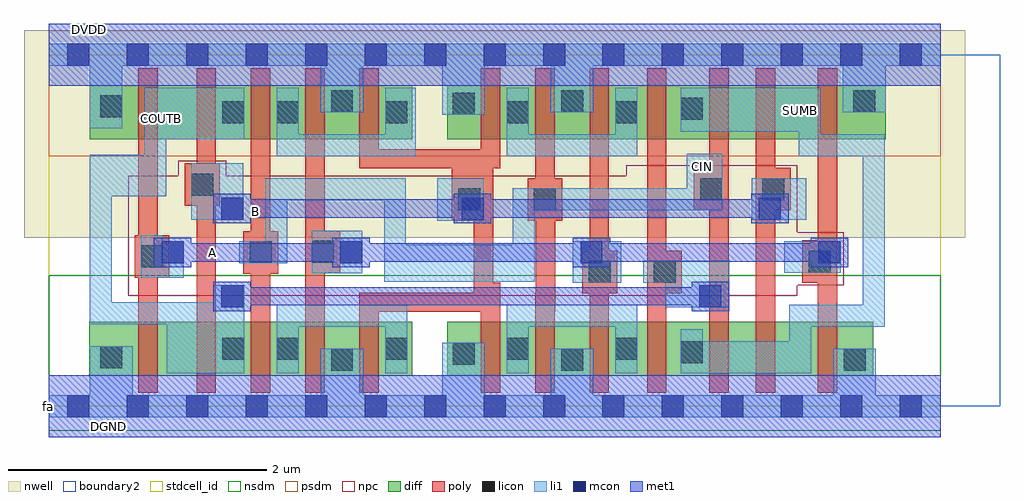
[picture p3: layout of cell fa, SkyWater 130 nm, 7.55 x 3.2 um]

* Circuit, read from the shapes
.subckt fa A B CIN COUTB DGND DVDD SUMB
XM1 n1 A DGND VSUBS sky130_fd_pr__nfet_01v8 w=0.42 l=0.15
XM2 COUTB B n1 VSUBS sky130_fd_pr__nfet_01v8 w=0.42 l=0.15
XM3 n2 CIN COUTB VSUBS sky130_fd_pr__nfet_01v8 w=0.42 l=0.15
XM4 DGND A n2 VSUBS sky130_fd_pr__nfet_01v8 w=0.42 l=0.15
XM5 n2 B DGND VSUBS sky130_fd_pr__nfet_01v8 w=0.42 l=0.15
XM6 n3 B DGND VSUBS sky130_fd_pr__nfet_01v8 w=0.42 l=0.15
XM7 DGND CIN n3 VSUBS sky130_fd_pr__nfet_01v8 w=0.42 l=0.15
XM8 n3 A DGND VSUBS sky130_fd_pr__nfet_01v8 w=0.42 l=0.15
XM9 SUMB COUTB n3 VSUBS sky130_fd_pr__nfet_01v8 w=0.42 l=0.15
XM10 n4 CIN SUMB VSUBS sky130_fd_pr__nfet_01v8 w=0.42 l=0.15
XM11 n5 B n4 VSUBS sky130_fd_pr__nfet_01v8 w=0.42 l=0.15
XM12 DGND A n5 VSUBS sky130_fd_pr__nfet_01v8 w=0.42 l=0.15
XM13 n6 A DVDD n7 sky130_fd_pr__pfet_01v8 w=0.42 l=0.15
XM14 COUTB B n6 n7 sky130_fd_pr__pfet_01v8 w=0.42 l=0.15
XM15 n8 CIN COUTB n7 sky130_fd_pr__pfet_01v8 w=0.42 l=0.15
XM16 DVDD A n8 n7 sky130_fd_pr__pfet_01v8 w=0.42 l=0.15
XM17 n8 B DVDD n7 sky130_fd_pr__pfet_01v8 w=0.42 l=0.15
XM18 n9 B DVDD n7 sky130_fd_pr__pfet_01v8 w=0.42 l=0.15
XM19 DVDD CIN n9 n7 sky130_fd_pr__pfet_01v8 w=0.42 l=0.15
XM20 n9 A DVDD n7 sky130_fd_pr__pfet_01v8 w=0.42 l=0.15
XM21 SUMB COUTB n9 n7 sky130_fd_pr__pfet_01v8 w=0.42 l=0.15
XM22 n10 CIN SUMB n7 sky130_fd_pr__pfet_01v8 w=0.42 l=0.15
XM23 n11 B n10 n7 sky130_fd_pr__pfet_01v8 w=0.42 l=0.15
XM24 DVDD A n11 n7 sky130_fd_pr__pfet_01v8 w=0.42 l=0.15
.ends

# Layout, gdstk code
import gdstk
lib = gdstk.Library(unit=1e-6, precision=1e-09)
def R(c, l, rs):  # rectangles x0, y0, x1, y1
    for r in rs: c.add(gdstk.rectangle(r[:2], r[2:], *l))
def A(c, l, x, y, w, h, nx, ny, dx, dy):  # array of equal rectangles
    R(c, l, [(x+i*dx, y+j*dy, x+i*dx+w, y+j*dy+h) for i in range(nx) for j in range(ny)])
def P(c, l, *ps):  # polygons
    for p in ps: c.add(gdstk.Polygon(p, *l))
nwell = (64, 20)
diff = (65, 20)
poly = (66, 20)
licon = (66, 44)
li1 = (67, 20)
mcon = (67, 44)
met1 = (68, 20)
stdcell_id = (81, 4)
nsdm = (93, 44)
psdm = (94, 20)
npc = (95, 20)
boundary2 = (236, 0)

c_fa = lib.new_cell('fa')
R(c_fa, nwell, [(-0.19,1.305,7.09,2.91)])
R(c_fa, diff, [(0.315,0.235,2.815,0.655), (3.085,0.235,6.38,0.655), (0.32,2.065,2.815,2.485), (3.085,2.065,6.475,2.485)])
P(c_fa, poly, [(0.695,0.105),(0.695,0.995),(0.665,0.995),(0.665,1.325),(0.695,1.325),(0.695,2.615),(0.845,2.615),(0.845,1.325),(0.935,1.325),(0.935,0.995),(0.845,0.995),(0.845,0.105)],
  [(1.145,0.105),(1.145,1.55),(1.055,1.55),(1.055,1.88),(1.145,1.88),(1.145,2.615),(1.295,2.615),(1.295,1.88),(1.325,1.88),(1.325,1.55),(1.295,1.55),(1.295,0.105)],
  [(1.565,0.105),(1.565,1.025),(1.505,1.025),(1.505,1.355),(1.565,1.355),(1.565,2.615),(1.715,2.615),(1.715,1.355),(1.775,1.355),(1.775,1.025),(1.715,1.025),(1.715,0.105)],
  [(1.985,0.105),(1.985,2.615),(2.135,2.615),(2.135,1.36),(2.255,1.36),(2.255,1.03),(2.135,1.03),(2.135,0.105)],
  [(2.405,0.105),(2.405,0.88),(3.29,0.88),(3.29,1.435),(3.12,1.435),(3.12,1.84),(2.405,1.84),(2.405,2.615),(2.555,2.615),(2.555,1.99),(3.345,1.99),(3.345,2.615),(3.495,2.615),(3.495,1.84),(3.44,1.84),(3.44,0.955),(3.495,0.955),(3.495,0.105),(3.345,0.105),(3.345,0.73),(2.555,0.73),(2.555,0.105)],
  [(3.765,0.105),(3.765,0.88),(3.77,0.88),(3.77,1.435),(3.705,1.435),(3.705,1.765),(3.765,1.765),(3.765,2.615),(3.915,2.615),(3.915,1.765),(3.975,1.765),(3.975,1.435),(3.92,1.435),(3.92,0.73),(3.915,0.73),(3.915,0.105)],
  [(4.185,0.105),(4.185,0.875),(4.13,0.875),(4.13,1.205),(4.185,1.205),(4.185,2.615),(4.335,2.615),(4.335,1.205),(4.4,1.205),(4.4,0.875),(4.335,0.875),(4.335,0.105)],
  [(4.63,0.105),(4.63,2.615),(4.78,2.615),(4.78,1.205),(4.9,1.205),(4.9,0.875),(4.78,0.875),(4.78,0.105)],
  [(5.11,0.105),(5.11,1.515),(4.99,1.515),(4.99,1.845),(5.11,1.845),(5.11,2.615),(5.26,2.615),(5.26,0.105)],
  [(5.47,0.105),(5.47,2.615),(5.62,2.615),(5.62,1.845),(5.74,1.845),(5.74,1.515),(5.62,1.515),(5.62,0.105)],
  [(5.95,0.105),(5.95,0.955),(5.83,0.955),(5.83,1.285),(5.95,1.285),(5.95,2.615),(6.1,2.615),(6.1,0.105)])
R(c_fa, licon, [(2.185,0.275,2.355,0.445), (3.965,0.275,4.135,0.445), (6.15,0.275,6.32,0.445), (0.4,0.295,0.57,0.465), (3.125,0.32,3.295,0.49), (4.89,0.335,5.06,0.505), (1.345,0.36,1.515,0.53), (1.765,0.36,1.935,0.53), (2.605,0.36,2.775,0.53), (3.545,0.36,3.715,0.53), (4.385,0.36,4.555,0.53), (4.18,0.955,4.35,1.125), (4.68,0.955,4.85,1.125), (5.88,1.035,6.05,1.205), (0.715,1.075,0.885,1.245), (1.555,1.105,1.725,1.275), (2.035,1.11,2.205,1.28), (3.17,1.515,3.34,1.685), (3.755,1.515,3.925,1.685), (5.04,1.595,5.21,1.765), (5.52,1.595,5.69,1.765), (1.105,1.63,1.275,1.8), (1.345,2.19,1.515,2.36), (1.765,2.19,1.935,2.36), (2.605,2.19,2.775,2.36), (3.545,2.19,3.715,2.36), (4.385,2.19,4.555,2.36), (4.89,2.215,5.06,2.385), (0.4,2.235,0.57,2.405), (3.125,2.255,3.295,2.425), (2.185,2.275,2.355,2.445), (3.965,2.275,4.135,2.445), (6.225,2.275,6.395,2.445)])
R(c_fa, li1, [(4.055,0.955,4.43,1.275), (2.035,1.03,2.425,1.36), (5.69,1.035,6.13,1.275), (3.005,1.435,3.365,1.765), (1.105,1.445,1.505,1.88), (5.44,1.445,5.86,1.765)])
P(c_fa, li1, [(2.595,0.965),(2.595,1.595),(1.845,1.595),(1.845,1.105),(1.475,1.105),(1.475,1.275),(1.675,1.275),(1.675,1.765),(2.765,1.765),(2.765,1.25),(3.59,1.25),(3.59,1.685),(4.935,1.685),(4.935,1.955),(5.21,1.955),(5.21,1.515),(3.76,1.515),(3.76,0.965)],
  [(4.89,0.255),(4.89,0.595),(5.06,0.595),(5.06,0.505),(5.73,0.505),(5.73,0.785),(6.3,0.785),(6.3,1.935),(5.805,1.935),(5.805,2.125),(4.89,2.125),(4.89,2.465),(5.975,2.465),(5.975,2.105),(6.47,2.105),(6.47,0.615),(5.9,0.615),(5.9,0.255)],
  [(0,-0.085),(0,0.085),(0.32,0.085),(0.32,0.465),(0.65,0.465),(0.65,0.085),(2.105,0.085),(2.105,0.445),(2.435,0.445),(2.435,0.085),(3.045,0.085),(3.045,0.49),(3.375,0.49),(3.375,0.085),(3.885,0.085),(3.885,0.445),(4.215,0.445),(4.215,0.085),(6.07,0.085),(6.07,0.445),(6.4,0.445),(6.4,0.085),(6.9,0.085),(6.9,-0.085)],
  [(0.32,2.15),(0.32,2.635),(0,2.635),(0,2.805),(6.9,2.805),(6.9,2.635),(6.475,2.635),(6.475,2.275),(6.145,2.275),(6.145,2.635),(4.215,2.635),(4.215,2.275),(3.885,2.275),(3.885,2.635),(3.375,2.635),(3.375,2.255),(3.045,2.255),(3.045,2.635),(2.435,2.635),(2.435,2.275),(2.105,2.275),(2.105,2.635),(0.57,2.635),(0.57,2.15)],
  [(0.915,0.255),(0.915,0.635),(0.32,0.635),(0.32,1.945),(0.74,1.945),(0.74,2.465),(1.515,2.465),(1.515,2.065),(0.91,2.065),(0.91,1.625),(0.49,1.625),(0.49,0.805),(1.275,0.805),(1.275,0.935),(1.515,0.935),(1.515,0.255)],
  [(0.715,0.995),(0.715,1.325),(0.885,1.325),(0.885,1.275),(1.045,1.275),(1.045,0.995)],
  [(4.77,0.765),(4.77,0.955),(4.6,0.955),(4.6,1.125),(5.265,1.125),(5.265,0.765)],
  [(3.545,0.255),(3.545,0.785),(4.555,0.785),(4.555,0.255),(4.385,0.255),(4.385,0.615),(3.715,0.615),(3.715,0.255)],
  [(3.545,1.935),(3.545,2.465),(3.715,2.465),(3.715,2.105),(4.385,2.105),(4.385,2.465),(4.555,2.465),(4.555,1.935)],
  [(1.765,1.935),(1.765,2.465),(1.935,2.465),(1.935,2.105),(2.605,2.105),(2.605,2.465),(2.84,2.465),(2.84,1.935)],
  [(1.765,0.255),(1.765,0.785),(2.775,0.785),(2.775,0.255),(2.605,0.255),(2.605,0.615),(1.935,0.615),(1.935,0.255)])
A(c_fa, mcon, 0.145, -0.085, 0.17, 0.17, 15, 2, 0.46, 2.72)
R(c_fa, mcon, [(1.335,0.765,1.505,0.935), (5.035,0.765,5.205,0.935), (0.875,1.105,1.045,1.275), (2.255,1.105,2.425,1.275), (4.115,1.105,4.285,1.275), (5.955,1.105,6.125,1.275), (1.335,1.445,1.505,1.615), (3.195,1.445,3.365,1.615), (5.495,1.445,5.665,1.615)])
P(c_fa, met1, [(1.275,0.735),(1.275,0.965),(1.565,0.965),(1.565,0.92),(4.975,0.92),(4.975,0.965),(5.265,0.965),(5.265,0.735),(4.975,0.735),(4.975,0.78),(1.565,0.78),(1.565,0.735)],
  [(1.275,1.415),(1.275,1.645),(1.565,1.645),(1.565,1.6),(3.135,1.6),(3.135,1.645),(3.425,1.645),(3.425,1.6),(5.435,1.6),(5.435,1.645),(5.725,1.645),(5.725,1.415),(5.435,1.415),(5.435,1.46),(3.425,1.46),(3.425,1.415),(3.135,1.415),(3.135,1.46),(1.565,1.46),(1.565,1.415)],
  [(0.815,1.075),(0.815,1.305),(1.105,1.305),(1.105,1.26),(2.195,1.26),(2.195,1.305),(2.485,1.305),(2.485,1.26),(4.055,1.26),(4.055,1.305),(4.345,1.305),(4.345,1.26),(5.895,1.26),(5.895,1.305),(6.185,1.305),(6.185,1.075),(5.895,1.075),(5.895,1.12),(4.345,1.12),(4.345,1.075),(4.055,1.075),(4.055,1.12),(2.485,1.12),(2.485,1.075),(2.195,1.075),(2.195,1.12),(1.105,1.12),(1.105,1.075)])
R(c_fa, stdcell_id, [(0,0,6.9,2.72)])
R(c_fa, nsdm, [(0,-0.19,6.9,1.015)])
R(c_fa, psdm, [(0,1.935,6.9,2.91)])
P(c_fa, npc, [(0.615,0.855),(0.615,1.785),(1.005,1.785),(1.005,1.9),(1.375,1.9),(1.375,1.785),(4.47,1.785),(4.47,1.865),(5.79,1.865),(5.79,1.345),(6.15,1.345),(6.15,0.935),(5.79,0.935),(5.79,0.855)])
R(c_fa, boundary2, [(0,0,7.36,2.72)])
c_fa.add(gdstk.FlexPath([(0,2.72),(6.9,2.72)], 0.48, ends="flush", simple_path=True, layer=68, datatype=20))  # met1
c_fa.add(gdstk.FlexPath([(0,0),(6.515,0),(6.9,0)], 0.48, ends="flush", simple_path=True, layer=68, datatype=20))  # met1
c_fa.add(gdstk.Label('fa', (0,0), layer=83, texttype=44))
c_fa.add(gdstk.Label('B', (1.6,1.51), layer=68, texttype=5))
c_fa.add(gdstk.Label('A', (1.265,1.19), layer=68, texttype=5))
c_fa.add(gdstk.Label('DGND', (0.46,-0.16), layer=68, texttype=5))
c_fa.add(gdstk.Label('DVDD', (0.32,2.915), layer=68, texttype=5))
c_fa.add(gdstk.Label('SUMB', (5.815,2.285), layer=67, texttype=5))
c_fa.add(gdstk.Label('COUTB', (0.87,2.23), layer=67, texttype=5))
c_fa.add(gdstk.Label('CIN', (5.06,1.855), layer=67, texttype=5))

lib.write_gds('fa.gds')
